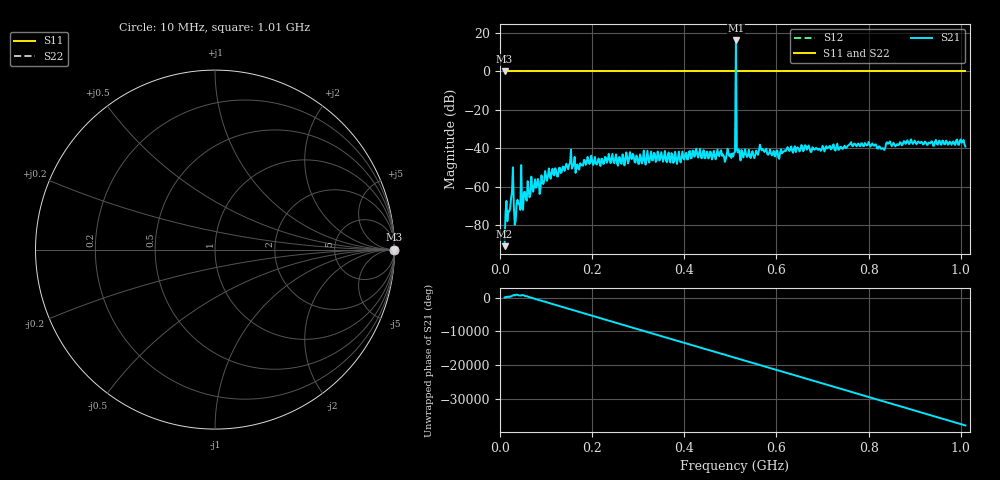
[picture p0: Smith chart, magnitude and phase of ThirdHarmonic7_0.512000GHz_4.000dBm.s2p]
! 8/17/2025 2:54:45 PM
! C:\ANRITSUVNA\TEMP\TEMP.S2P
! CHANNEL.1
! TR.MEASUREMENT
! RAW.DATA
! RF.CORRECTION.OFF
! AVERAGING.OFF
! IF.BANDWIDTH: 5KHZ
! SWEEPTYPE:  FREQ.SWEEP(Linear)
! Reference Plane Port Info
! PORT:  PORT1  PORT2
! DISTANCE:  0  m  0  m
! TIME:  0  s  0  s
! PHASE.OFFSET:  0  deg.  0  deg.
! LOSS:  0  dB  0  dB
! REF.LOSS:  0  dB  0  dB
! REF.FREQ:  0  Hz  0  Hz
! Power Info
! POWER:  -20  dBm  -20  dBm
! EFF.POWER:  -20  dBm  -20  dBm
! SOURCE.ATTEN:  0  dB  0  dB
! TEST.ATTEN:  0  dB  0  dB
# GHZ S RI R 50.0
! FREQ.GHZ  S11RE  S11IM  S21RE  S21IM  S12RE  S12IM  S22RE  S22IM
!; PortSelection: Port_12
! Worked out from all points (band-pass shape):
!   501 points, 10 MHz to 1.01 GHz, reference 50 ohm
!   highest |S21| = 15.93 dB at 512 MHz (marker M1); lowest = -90.9 dB at 10 MHz (marker M2)
!   |S21| within 3 dB of the highest: 511.8964 MHz to 512.1057 MHz (209.3 kHz wide, 0.0409 % of centre)
!   lowest |S11| = 0.0 dB at 10 MHz (marker M3)
!   |S11| at or under -10 dB: nowhere
!   |S22| runs from 0.0 to 0.0 dB; largest |S21 - S12| = 5.5
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0.01  1 0  2.46e-05 1.44e-05  1 0  1 0
0.02  1 0  0.000225 9.4e-06  1 0  1 0
0.026  1 0  -0.000709 -0.00016  1 0  1 0
0.036  1 0  -0.000304 -0.000172  1 0  1 0
0.042  1 0  6.2e-05 -0.000346  1 0  1 0
0.05  1 0  0.000227 0.000105  1 0  1 0
0.052  1 0  0.000402 -0.000597  1 0  1 0
0.072  1 0  -0.000734 7.25e-05  1 0  1 0
0.09  1 0  -0.00197 -7.71e-05  1 0  1 0
0.102  1 0  0.00109 0.000907  1 0  1 0
0.15  1 0  -0.00121 -0.00351  1 0  1 0
0.178  1 0  -0.00337 -0.0011  1 0  1 0
0.344  1 0  0.0065 -0.00231  1 0  1 0
0.506  1 0  0.00603 -0.000779  1 0  1 0
0.508  1 0  0.00109 -0.00748  1 0  1 0
0.51  1 0  -0.00783 0.0015  1 0  1 0
0.512  1 0  4.856 3.954  1 0  1 0
0.516  1 0  0.0058 -0.0052  1 0  1 0
0.518  1 0  -0.00735 -0.00557  1 0  1 0
0.678  1 0  0.00323 -0.01  1 0  1 0
0.844  1 0  -0.00497 0.0125  1 0  1 0
1.01  1 0  -0.00014 -0.011  1 0  1 0
